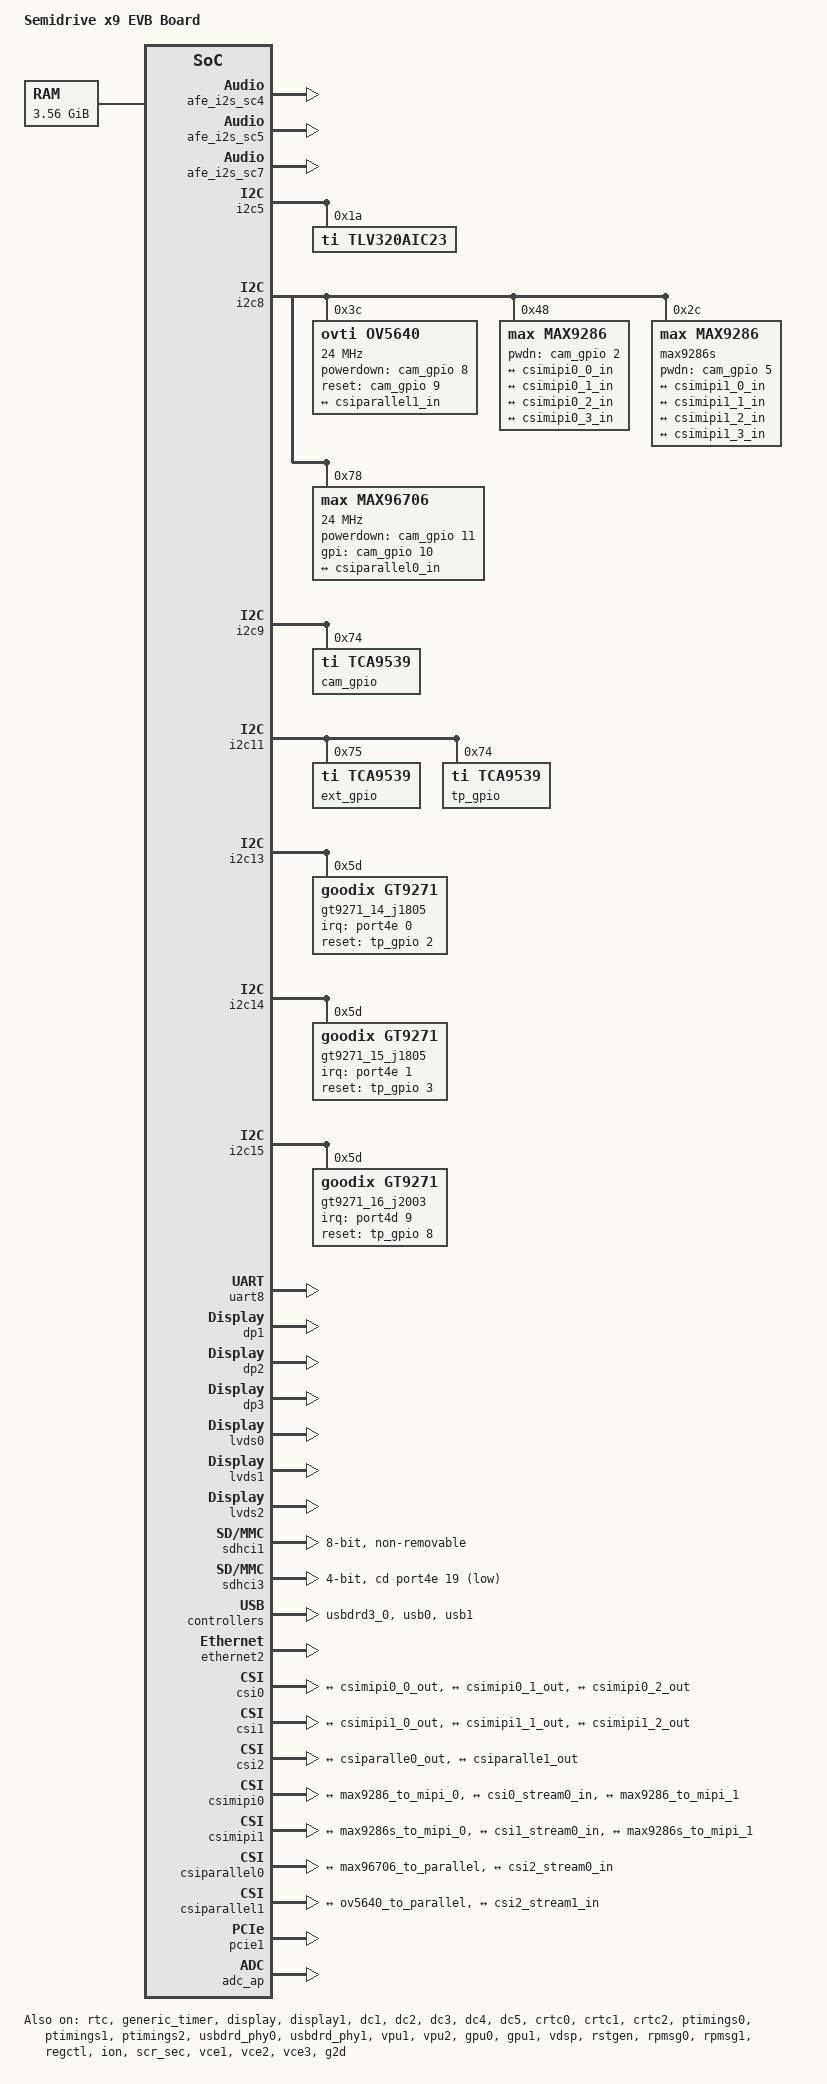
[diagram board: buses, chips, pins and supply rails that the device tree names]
/dts-v1/;

#include "x9-xen.dtsi"
#include "cpus-ap1-xen.dtsi"
#include "display-xen.dtsi"
#include "clk-xen.dtsi"
#include "x9-clk-common-xen.dtsi"
#include "lcd-timings-xen.dtsi"
#include "vdsp-xen.dtsi"
#include "x9-gpu.dtsi"
#include "x9-import.dtsi"
#include "reserved-mem-xen.dtsi"

/ {
	model = "Semidrive x9 EVB Board";

	compatible = "semidrive,kunlun";

	aliases {
		serial0 = &uart8;
		ethernet1 = &ethernet1;
		ethernet2 = &ethernet2;
	};

	memory@5c200000 {
		device_type = "memory";
		reg = <0x0 0x5c200000 0x0 0xa3e00000>,
		      <0x1 0x0 0x0 0x40000000>;
	};

        chosen {
                bootargs = "root=/dev/mmcblk0p17 rodata=off earlyprintk=xen console=hvc0 debug rw loglevel=3 cma=8M rootwait";
                xen,xen-bootargs = "console_to_ring console=dtuart dtuart=serial0 conswitch=x loglvl=error guest_loglvl=error console_timestamps=boot iommu=on sched=credit2 dom0_mem=256M gnttab_max_frames=64 gnttab_max_maptrack_frames=1024 dom0_max_vcpus=1 dom0_vcpus_pin=true credit2_runqueue=cpu";
                #address-cells = <0x02>;
                #size-cells = <0x02>;

                module@1 {
                        compatible = "xen,linux-zimage\0xen,multiboot-module";
                        reg = <0x00 0x5c280000 0x00 0x148a200>;
                };
        };

};

&cpu0 {
      reg = <0x00 0x00000000>;
      status = "okay";
};

&cpu1 {
      reg = <0x00 0x00000100>;
      status = "okay";
};

&cpu2 {
      reg = <0x00 0x00000200>;
      status = "okay";
};

&cpu3 {
      reg = <0x00 0x00000300>;
      status = "okay";
};

&cpu4 {
      reg = <0x00 0x00000400>;
      status = "okay";
};

&cpu5 {
      reg = <0x00 0x00000500>;
      status = "okay";
};

&psci {
	method = "smc";
};

&gic {
     compatible = "arm,cortex-a15-gic","arm,gic-400";
     reg = <0x0 0x35431000 0x0 0x1000>,
     	   <0x0 0x35432000 0x0 0x2000>,
           <0x0 0x35434000 0x0 0x2000>,
           <0x0 0x35436000 0x0 0x2000>;
};

&smmu {
      status = "okay";
};

&rtc {
	status = "okay";
	xen,passthrough;
};

&dmac2 {
	status = "okay";
        xen,passthrough;
        xen,mids = <10>;
        sid = <SDRV_SID_DMAC2>;
};

&dmac3 {
	status = "okay";
        xen,passthrough;
        xen,mids = <11>;
        sid = <SDRV_SID_DMAC3>;
};

&dmac4 {
	status = "okay";
        xen,passthrough;
        xen,mids = <12>;
        sid = <SDRV_SID_DMAC4>;
};

&dmac5 {
	status = "okay";
        xen,passthrough;
        xen,mids = <13>;
        sid = <SDRV_SID_DMAC5>;
};

&dmac6 {
	status = "okay";
        xen,passthrough;
        xen,mids = <14>;
        sid = <SDRV_SID_DMAC6>;
};

&dmac7 {
	status = "okay";
        xen,passthrough;
        xen,mids = <15>;
        sid = <SDRV_SID_DMAC7>;
};

&afe_i2s_sc4 {
	status = "okay";
        xen,passthrough;
};

&afe_i2s_sc5{
	dmas = <&dmac4 X9_DMA_SLV_ID_I2S_SC6_TX>, <&dmac4 X9_DMA_SLV_ID_I2S_SC6_RX>;
	dma-names = "tx", "rx";
	status = "okay";
        xen,passthrough;
};

&afe_i2s_sc7{
	dmas = <&dmac4 X9_DMA_SLV_ID_I2S_SC8_TX>, <&dmac4 X9_DMA_SLV_ID_I2S_SC8_RX>;
	dma-names = "tx", "rx";
	status = "okay";
        xen,passthrough;
};

&i2c0 {
      xen,passthrough;
};

&i2c1 {
      xen,passthrough;
};

&i2c2 {
      xen,passthrough;
};

&i2c3 {
      xen,passthrough;
};

&i2c4 {
      xen,passthrough;
};

&i2c5 {
        status = "okay";
        xen,passthrough;
	tlv320aic23: codec@1a {
		compatible = "ti,tlv320aic23";
		reg = <0x1a>;
	};
};


&i2c8 {
        status = "okay";
        xen,passthrough;

		ov5640:ov5640@3c {
			compatible = "ovti,ov5640";
			clocks = <&CSI_MCLK1>;
			clock-names = "csi-mclk";
			clock-frequency = <24000000>;
			reg = <0x3c>;
			powerdown-gpios = <&cam_gpio 8 0>;
			reset-gpios = <&cam_gpio 9 0>;
			port {
				#address-cells = <1>;
				#size-cells = <0>;

				ov5640_to_parallel: endpoint {
					remote-endpoint = <&csiparallel1_in>;
				};
			};
		};

		max9286:max9286@48 {
			compatible = "max,max9286";
			reg = <0x48>;
			pwdn-gpios = <&cam_gpio 2 0>;

			ports {
				port@0 {
					#address-cells = <1>;
					#size-cells = <0>;

					max9286_to_mipi_0: endpoint {
						remote-endpoint = <&csimipi0_0_in>;
					};
				};
				port@1 {
					#address-cells = <1>;
					#size-cells = <0>;

					max9286_to_mipi_1: endpoint {
						remote-endpoint = <&csimipi0_1_in>;
					};
				};
				port@2 {
					#address-cells = <1>;
					#size-cells = <0>;

					max9286_to_mipi_2: endpoint {
						remote-endpoint = <&csimipi0_2_in>;
					};
				};
				port@3 {
					#address-cells = <1>;
					#size-cells = <0>;

					max9286_to_mipi_3: endpoint {
						remote-endpoint = <&csimipi0_3_in>;
					};
				};
			};
		};

		max9286s:max9286s@2c {
			compatible = "max,max9286";
			reg = <0x2c>;
			pwdn-gpios = <&cam_gpio 5 0>;

			ports {
				port@0 {
					#address-cells = <1>;
					#size-cells = <0>;

					max9286s_to_mipi_0: endpoint {
						remote-endpoint = <&csimipi1_0_in>;
					};
				};
				port@1 {
					#address-cells = <1>;
					#size-cells = <0>;

					max9286s_to_mipi_1: endpoint {
						remote-endpoint = <&csimipi1_1_in>;
					};
				};
				port@2 {
					#address-cells = <1>;
					#size-cells = <0>;

					max9286s_to_mipi_2: endpoint {
						remote-endpoint = <&csimipi1_2_in>;
					};
				};
				port@3 {
					#address-cells = <1>;
					#size-cells = <0>;

					max9286s_to_mipi_3: endpoint {
						remote-endpoint = <&csimipi1_3_in>;
					};
				};
			};
		};

		max96706:max96706@78 {
			compatible = "max,max96706";
			clock-frequency = <24000000>;
			reg = <0x78>;
			powerdown-gpios = <&cam_gpio 11 0>;
			gpi-gpios = <&cam_gpio 10 0>;
			port {
				#address-cells = <1>;
				#size-cells = <0>;

				max96706_to_parallel: endpoint {
					remote-endpoint = <&csiparallel0_in>;
				};
			};
		};
};

&i2c9 {
        status = "okay";
        xen,passthrough;
	cam_gpio: gpio@74 {
		compatible = "ti,tca9539";
		reg = <0x74>;
		#gpio-cells = <2>;
		gpio-controller;
	};
};

&i2c10 {
      xen,passthrough;
};

&i2c11 {
        status = "okay";
        xen,passthrough;
	ext_gpio: gpio@75 {
		compatible = "ti,tca9539";
		reg = <0x75>;
		#gpio-cells = <2>;
		gpio-controller;
	};
	tp_gpio: gpio@74 {
		compatible = "ti,tca9539";
		reg = <0x74>;
		#gpio-cells = <2>;
		gpio-controller;
	};
};

&i2c13 {
       status = "okay";
       xen,passthrough;
       gt9271_14_j1805:gt9271_14_j1805@5d {
                //pinctrl-names = "default";
                //pinctrl-0 = <&pinctrl_gpiotouch_lvds>;
                compatible = "goodix,gt9271";
		irq-gpios = <&port4e 0 0>;	/*io80*/
                reset-gpios = <&tp_gpio 2 0>;	/*index 2*/
                reg = <0x5d>;
       };

};

&i2c14 {
	status = "okay";
        xen,passthrough;
	gt9271_15_j1805:gt9271_15_j1805@5d {
		//pinctrl-names = "default";
		//pinctrl-0 = <&pinctrl_gpiotouch_lvds>;
		compatible = "goodix,gt9271";
		irq-gpios = <&port4e 1 0>;	/*io81*/
		reset-gpios = <&tp_gpio 3 0>;		/*index 3*/
		reg = <0x5d>;
		dev_type = <1>;	/* 0: main device, 1: aux device */
	};
};

&i2c15 {
	status = "okay";
        xen,passthrough;
	gt9271_16_j2003:gt9271_16_j2003@5d {
		//pinctrl-names = "default";
		//pinctrl-0 = <&pinctrl_gpiotouch_mipi>;
		compatible = "goodix,gt9271";
		irq-gpios = <&port4d 9 0>;	/*io57*/
		reset-gpios = <&tp_gpio 8 0>;	/*index 8*/
		reg = <0x5d>;
	};
};

&uart8 {
	//dmas = <&dmac4 X9_DMA_SLV_ID_UART9_TX>, <&dmac4 X9_DMA_SLV_ID_UART9_RX>;
	//dma-names = "tx", "rx";
	status = "okay";
};

&generic_timer {
	status = "okay";
};

&display {
	sdriv,crtc = <&crtc1>;
	status = "okay";
        reg = <0x00 0x38419000 0x00 0x3000>;
        xen,passthrough;
};

&display1 {
	sdriv,crtc = <&crtc0 &crtc2>;
	status = "okay";
        reg = <0x00 0x38419000 0x00 0x3000>;
        xen,passthrough;
};

&dp1 {
	status = "okay";
	xen,passthrough;
};

&dp2 {
	status = "okay";
	xen,passthrough;
};

&dp3 {
	status = "okay";
	xen,passthrough;
};

&dc1 {
	status = "okay";
	xen,passthrough;
};

&dc2 {
	status = "okay";
	xen,passthrough;
};

&dc3 {
	status = "okay";
	xen,passthrough;
};

&dc4 {
	status = "okay";
	xen,passthrough;
};

&dc5 {
	status = "okay";
	xen,passthrough;
};

&crtc0 {
	dpc-master = <&dp1>;
	status = "okay";
        xen,passthrough;
        xen,mids = <19 23>;
        sid = <SDRV_SID_CRTC0>;
};

&crtc1 {
	dpc-master = <&dp2 &dc2>;
	status = "okay";
        xen,passthrough;
        xen,mids = <20 24>;
        sid = <SDRV_SID_CRTC1>;

	crtc1_out: port {
		crtc1_out_interface: endpoint@0 {
			remote-endpoint = <&lvds_in_crtc1>;
		};
	};
};

&crtc2 {
	dpc-master = <&dp3>;
	status = "okay";
        xen,passthrough;
        xen,mids = <21 25>;
        sid = <SDRV_SID_CRTC2>;
};

&lvds0 {
	lvds-select = <3>;
	status = "okay";
        xen,passthrough;
};

&lvds1 {
	lvds-select = <5>;
	dual-mode = <1>;
	status = "okay";
        xen,passthrough;
};

&lvds2 {
	lvds-select = <4>;
	status = "okay";
        xen,passthrough;
};

&dtimings0 {
	native-mode = <&hd1280x800>;
        xen,passthrough;
};

&dtimings1 {
	native-mode = <&fhd1920x720_1>;
        xen,passthrough;
};

&dtimings2 {
	native-mode = <&hd1280x800_2>;
        xen,passthrough;
};

&ptimings0 {
	status = "okay";
	xen,passthrough;
	port {
		parall_panel0_in: endpoint {
			remote-endpoint = <&lvds_out_timing0>;
		};
	};
};

&ptimings1 {
	status = "okay";
        xen,passthrough;
        port {
		parall_panel1_in: endpoint {
			remote-endpoint = <&lvds_out_timing1>;
		};
	};
};

&ptimings2 {
	status = "okay";
	xen,passthrough;
	port {
		parall_panel2_in: endpoint {
			remote-endpoint = <&lvds_out_timing2>;
		};
	};
};

&pinctrl {
        xen,passthrough;
	reg = <0x0 0x38500000 0x0 0x10000>;
	pinctrl-names = "default";

	sdx9-evk {
		pinctrl_mshc1: mshc1grp {
		kunlun,pins = <
			X9_PINCTRL_EMMC1_CLK__MSHC1_CLK_1	X9_PINCTRL_OPEN_DRAIN_DISABLE
			X9_PINCTRL_EMMC1_CMD__MSHC1_CMD_1	X9_PINCTRL_OPEN_DRAIN_DISABLE
			X9_PINCTRL_EMMC1_DATA0__MSHC1_DATA_0_1	X9_PINCTRL_OPEN_DRAIN_DISABLE
			X9_PINCTRL_EMMC1_DATA1__MSHC1_DATA_1_1	X9_PINCTRL_OPEN_DRAIN_DISABLE
			X9_PINCTRL_EMMC1_DATA2__MSHC1_DATA_2_1	X9_PINCTRL_OPEN_DRAIN_DISABLE
			X9_PINCTRL_EMMC1_DATA3__MSHC1_DATA_3_1	X9_PINCTRL_OPEN_DRAIN_DISABLE
			X9_PINCTRL_EMMC1_DATA4__MSHC1_DATA_4_1	X9_PINCTRL_OPEN_DRAIN_DISABLE
			X9_PINCTRL_EMMC1_DATA5__MSHC1_DATA_5_1	X9_PINCTRL_OPEN_DRAIN_DISABLE
			X9_PINCTRL_EMMC1_DATA6__MSHC1_DATA_6_1	X9_PINCTRL_OPEN_DRAIN_DISABLE
			X9_PINCTRL_EMMC1_DATA7__MSHC1_DATA_7_1	X9_PINCTRL_OPEN_DRAIN_DISABLE
			X9_PINCTRL_EMMC1_STROBE__MSHC1_STB_1	X9_PINCTRL_OPEN_DRAIN_ENABLE
			X9_PINCTRL_EMMC1_RESET_N__MSHC1_RST_N_1	X9_PINCTRL_OPEN_DRAIN_DISABLE
			>;
		};

		pinctrl_gpiotouch_lvds: touchgrp_lvds {
                        kunlun,pins = <
			X9_PINCTRL_I2S_MC_SD4__GPIO_MUX2_IO80_1          0x00
			X9_PINCTRL_I2S_MC_SD5__GPIO_MUX2_IO81_1          0x00
                        X9_PINCTRL_I2S_MC_SD6__GPIO_MUX2_IO82_1          0x00
                        X9_PINCTRL_I2S_MC_SD7__GPIO_MUX2_IO83_1          0x00
                        >;
                };
		pinctrl_gpiotouch_mipi: touchgrp_mipi {
                        kunlun,pins = <
			X9_PINCTRL_I2S_SC3_SCK__GPIO_MUX2_IO56_1          0x00
			X9_PINCTRL_I2S_SC3_WS__GPIO_MUX2_IO57_1          0x00
                        >;
                };
		pinctrl_sddetect: sddetect {
			kunlun,pins = <
			X9_PINCTRL_EMMC2_DATA1__GPIO_MUX2_IO99_1	X9_PINCTRL_OPEN_DRAIN_ENABLE
			>;
		};
	};
};

&gpio3 {
       status = "okay";
       xen,passthrough;
};

&port3a{
        xen,passthrough;
};

&port3b{
        xen,passthrough;
};

&port3c{
        xen,passthrough;
};

&port3d{
        xen,passthrough;
};

&port3e{
        xen,passthrough;
};

&gpio4 {
	//pinctrl-names = "default";
	//pinctrl-0 = <&pinctrl_gpiotouch_lvds &pinctrl_gpiotouch_mipi>;
	status = "okay";
        xen,passthrough;
};

&port4a{
        xen,passthrough;
};

&port4b{
        xen,passthrough;
};

&port4c{
        xen,passthrough;
};

&port4d{
        xen,passthrough;
};

&port4e{
        xen,passthrough;
};

&gpio5 {
       status = "okay";
       xen,passthrough;
};

&port5a{
        xen,passthrough;
};

&port5b{
        xen,passthrough;
};

&port5c{
        xen,passthrough;
};

&port5d{
        xen,passthrough;
};

&port5e{
        xen,passthrough;
};

&sdhci1 {
	#clock-cells = <1>;
	clocks = <&EMMC1>;
	clock-names = "core";
	max-frequency = <200000000>;
	bus-width = <8>;
	non-removable;
	no-sdio;
	no-sd;
	card-is-emmc;
	disable-wp;
	cap-mmc-highspeed;
	keep-power-in-suspend;
	mmc-ddr-1_8v;
	mmc-hs200-1_8v;
	mmc-hs400-1_8v;
	mmc-hs400-enhanced-strobe;
	status = "okay";
};

&sdhci3 {
	#clock-cells = <1>;
	clocks = <&EMMC3>;
	clock-names = "core";
	max-frequency = <25000000>;
	//pinctrl-names = "default";
	//pinctrl-0 = <&pinctrl_sddetect>;
	cd-gpios = <&port4e 19 GPIO_ACTIVE_LOW>;
	bus-width = <4>;
	no-1-8-v;
	no-mmc;
	no-sdio;
	disable-wp;
	keep-power-in-suspend;
	status = "okay";
        xen,passthrough;
        xen,mids = <34>;
        sid = <SDRV_SID_SDHCI3>;
};

&usbdrd3_0 {
	status = "okay";
        xen,passthrough;
};

&usb0 {
	status = "okay";
        xen,passthrough;
        xen,mids = <38>;
        sid = <SDRV_SID_USB0>;

};

&usbdrd_phy0 {
             status = "okay";
             xen,passthrough;
};

&usbdrd3_0 {
	status = "okay";
        xen,passthrough;
};

&usb1 {
	status = "okay";
        xen,passthrough;
        xen,mids = <39>;
        sid = <SDRV_SID_USB1>;

};

&usbdrd_phy1 {
             status = "okay";
             xen,passthrough;
};

&ethernet2 {
	status = "okay";
        /* xen,dom0-iommus; */
        xen,mids = <37>;
	sid = <SDRV_SID_ETH2>;
};

&vpu1 {
      resets = <&rstgen RSTGEN_MODULE_VPU1>;
      reset-names = "vpu-reset";
      status = "okay";
      xen,passthrough;
      xen,mids = <29>;
      sid = <SDRV_SID_VPU1>;
};

&vpu2 {
      	resets = <&rstgen RSTGEN_MODULE_VPU2>;
	reset-names = "vpu-reset";
        status = "okay";
        xen,passthrough;
        xen,mids = <30>;
        sid = <SDRV_SID_VPU2>;
};

&sound {
       status = "okay";
       semidrive,audio-codec = <&tlv320aic23>;
       xen,passthrough;
};

&gpu0 {
	status = "okay";
	xen,passthrough;
        xen,mids = <56>;
	sid = <SDRV_SID_GPU0>;
};

&gpu1 {
	status = "okay";
	xen,passthrough;
        xen,mids = <64>;
	sid = <SDRV_SID_GPU1>;
};

&vdsp {
	status = "okay";
        xen,passthrough;
};

&vdsp_ipc {
	status = "okay";
        xen,passthrough;
};

&rstgen {
	reg = <0x0 0x38467000 0x0 0x1000>,	/* vpu1 */
		<0x0 0x38468000 0x0 0x1000>,	/* vpu2 */
                <0x0 0x3846f000 0x0 0x1000>;	/* pcie1 */
	rstgen_resource = <
		RSTGEN_MODULE_VPU1
		RSTGEN_MODULE_VPU2
                RSTGEN_MODULE_PCIE1
		>;
	status = "okay";
        xen,passthrough;
};

&mbox {
	status = "okay";
};

&rpmsg0 {
	memory-region = <&rproc_0_safety>;
	reg = <0x0 RPMSG0_MEM_HEAD_BASE 0x0 RPMSG0_MEM_HEAD_SIZE>;
	status = "okay";
};

&rpmsg1 {
	memory-region = <&rproc_1_secure>;
	reg = <0x0 RPMSG1_MEM_HEAD_BASE 0x0 RPMSG1_MEM_HEAD_SIZE>;
	status = "okay";
};

&ipcc0 {
	status = "okay";
};

&ipcc1 {
	status = "okay";
};

&regctl {
	reg = <0x0 0x38415000 0x0 0x1000>,
              <0x0 0x38418000 0x0 0x1000>,
              <0x0 0x38419000 0x0 0x1000>;
	reg-names = "SDRV_REG_REMAP",
			"SDRV_REG_BOOTREASON",
                        "SDRV_REG_HWID";
	status = "okay";
        xen,passthrough;
};

&ion {
	status = "okay";
        xen,passthrough;
};

&hwsema {
        status = "disabled";
};

&scr_sec {
        status = "okay";
        xen,passthrough;
};

&csi0 {
	mbus-type = "mipi-csi2";
	pclk-sample = <1>;
	status = "okay";
        xen,passthrough;
        xen,mids = <16>;
        sid = <SDRV_SID_CSI0>;
	ports {
		csi0_stream0: port@0 {
			csi0_stream0_in: endpoint@0 {
				remote-endpoint = <&csimipi0_0_out>;
			};
		};
		csi0_stream1: port@1 {
			csi0_stream1_in: endpoint@0 {
				remote-endpoint = <&csimipi0_1_out>;
			};
		};
		csi0_stream2: port@2 {
			csi0_stream2_in: endpoint@0 {
				remote-endpoint = <&csimipi0_2_out>;
			};
		};
		csi0_stream3: port@3 {
			csi0_stream3_in: endpoint@0 {
				remote-endpoint = <&csimipi0_3_out>;
			};
		};
	};
};

&csi1 {
	mbus-type = "mipi-csi2";
	pclk-sample = <1>;
	status = "okay";
        xen,passthrough;
        xen,mids = <17>;
        sid = <SDRV_SID_CSI1>;

	ports {
		csi1_stream0: port@0 {
			csi1_stream0_in: endpoint@0 {
				remote-endpoint = <&csimipi1_0_out>;
			};
		};
		csi1_stream1: port@1 {
			csi1_stream1_in: endpoint@0 {
				remote-endpoint = <&csimipi1_1_out>;
			};
		};
		csi1_stream2: port@2 {
			csi1_stream2_in: endpoint@0 {
				remote-endpoint = <&csimipi1_2_out>;
			};
		};
		csi1_stream3: port@3 {
			csi1_stream3_in: endpoint@0 {
				remote-endpoint = <&csimipi1_3_out>;
			};
		};
	};
};

&csi2 {
	mbus-type = "parallel";
	pclk-sample = <1>;
	status = "okay";
        xen,passthrough;
        xen,mids = <18>;
        sid = <SDRV_SID_CSI2>;

	ports {
		csi2_stream0: port@0 {
			csi2_stream0_in: endpoint@0 {
				remote-endpoint = <&csiparalle0_out>;
			};
		};

		csi2_stream1: port@1 {
			csi2_stream1_in: endpoint@0 {
				remote-endpoint = <&csiparalle1_out>;
			};
		};
	};
};

&csimipi0 {
	status = "okay";
	lanerate = <72000000>;
	hsa = <10>;
	hbp = <20>;
	hsd = <0x60>;
	output-type = <0x1e>;
        xen,passthrough;

	ports {
		#address-cells = <1>;
		#size-cells = <0>;

		port@0 {
			#address-cells = <1>;
			#size-cells = <0>;
			reg = <0>;
			csimipi0_0_in: endpoint@0 {
				remote-endpoint = <&max9286_to_mipi_0>;
				reg = <0>;
			};
			csimipi0_0_out: endpoint@1 {
				remote-endpoint = <&csi0_stream0_in>;
				reg = <0>;
			};
		};
		port@1 {
			#address-cells = <1>;
			#size-cells = <0>;
			reg = <1>;
			csimipi0_1_in: endpoint@0 {
				remote-endpoint = <&max9286_to_mipi_1>;
				reg = <1>;
			};
			csimipi0_1_out: endpoint@1 {
				remote-endpoint = <&csi0_stream1_in>;
				reg = <1>;
			};
		};
		port@2 {
			#address-cells = <1>;
			#size-cells = <0>;
			reg = <2>;
			csimipi0_2_in: endpoint@0 {
				remote-endpoint = <&max9286_to_mipi_2>;
				reg = <2>;
			};
			csimipi0_2_out: endpoint@1 {
				remote-endpoint = <&csi0_stream2_in>;
				reg = <2>;
			};
		};
		port@3 {
			#address-cells = <1>;
			#size-cells = <0>;
			reg = <3>;
			csimipi0_3_in: endpoint@0 {
				remote-endpoint = <&max9286_to_mipi_3>;
				reg = <3>;
			};
			csimipi0_3_out: endpoint@1 {
				remote-endpoint = <&csi0_stream3_in>;
				reg = <3>;
			};
		};
	};
};

&csimipi1 {
	status = "okay";
	lanerate = <72000000>;
	hsa = <10>;
	hbp = <20>;
	hsd = <0x60>;
	output-type = <0x1e>;
        xen,passthrough;
	ports {
		#address-cells = <1>;
		#size-cells = <0>;

		port@0 {
			#address-cells = <1>;
			#size-cells = <0>;
			reg = <0>;
			csimipi1_0_in: endpoint@0 {
				remote-endpoint = <&max9286s_to_mipi_0>;
				reg = <0>;
			};
			csimipi1_0_out: endpoint@1 {
				remote-endpoint = <&csi1_stream0_in>;
				reg = <0>;
			};
		};
		port@1 {
			#address-cells = <1>;
			#size-cells = <0>;
			reg = <1>;
			csimipi1_1_in: endpoint@0 {
				remote-endpoint = <&max9286s_to_mipi_1>;
				reg = <1>;
			};
			csimipi1_1_out: endpoint@1 {
				remote-endpoint = <&csi1_stream1_in>;
				reg = <1>;
			};
		};
		port@2 {
			#address-cells = <1>;
			#size-cells = <0>;
			reg = <2>;
			csimipi1_2_in: endpoint@0 {
				remote-endpoint = <&max9286s_to_mipi_2>;
				reg = <2>;
			};
			csimipi1_2_out: endpoint@1 {
				remote-endpoint = <&csi1_stream2_in>;
				reg = <2>;
			};
		};
		port@3 {
			#address-cells = <1>;
			#size-cells = <0>;
			reg = <3>;
			csimipi1_3_in: endpoint@0 {
				remote-endpoint = <&max9286s_to_mipi_3>;
				reg = <3>;
			};
			csimipi1_3_out: endpoint@1 {
				remote-endpoint = <&csi1_stream3_in>;
				reg = <3>;
			};
		};
	};
};

&csiparallel0 {
	status = "okay";
	#address-cells = <1>;
	#size-cells = <0>;
        xen,passthrough;

	port {
		#address-cells = <1>;
		#size-cells = <0>;
		reg = <0>;
		csiparallel0_in: endpoint@0 {
			remote-endpoint = <&max96706_to_parallel>;
		};

		csiparallel0_out: endpoint@1 {
			remote-endpoint = <&csi2_stream0_in>;
		};
	};
};

&csiparallel1 {
	status = "okay";
	#address-cells = <1>;
	#size-cells = <0>;
        xen,passthrough;

	port {
		#address-cells = <1>;
		#size-cells = <0>;
		reg = <1>;
		csiparallel1_in: endpoint@0 {
			remote-endpoint = <&ov5640_to_parallel>;
		};

		csiparallel1_out: endpoint@1 {
			remote-endpoint = <&csi2_stream1_in>;
		};
	};
};

&pcie1 {
        resets = <&rstgen RSTGEN_MODULE_PCIE1>;
	reset-names = "pcie-reset";
	status = "okay";
        xen,passthrough;
        xen,mids = <80>;
        xen,mids = <80 81 82 83 84 85 86 87 88 89 90 91 92 93 94 95>;
        sid = <SDRV_SID_PCIE0>;
};

&vce1 {
   /*
 	* op-mode options:
 	* bit 0: rng enable(1) or disable(0)
 	* bit 1: ce enable(1) or disable(0)
 	*/
 	op-mode = <3>;
	status = "okay";
};

&vce2 {
   /*
 	* op-mode options:
 	* bit 0: rng enable(1) or disable(0)
 	* bit 1: ce enable(1) or disable(0)
 	*/
 	op-mode = <3>;
	status = "okay";
	xen,passthrough;
};

&vce3 {
   /*
 	* op-mode options:
 	* bit 0: rng enable(1) or disable(0)
 	* bit 1: ce enable(1) or disable(0)
 	*/
 	op-mode = <3>;
	status = "okay";
	xen,passthrough;
};

&g2d {
     status = "okay";
     xen,passthrough;
     xen,mids = <27>;
     sid = <SDRV_SID_G2D1>;
};

&adc_ap {
	status = "okay";
        xen,passthrough;
};
